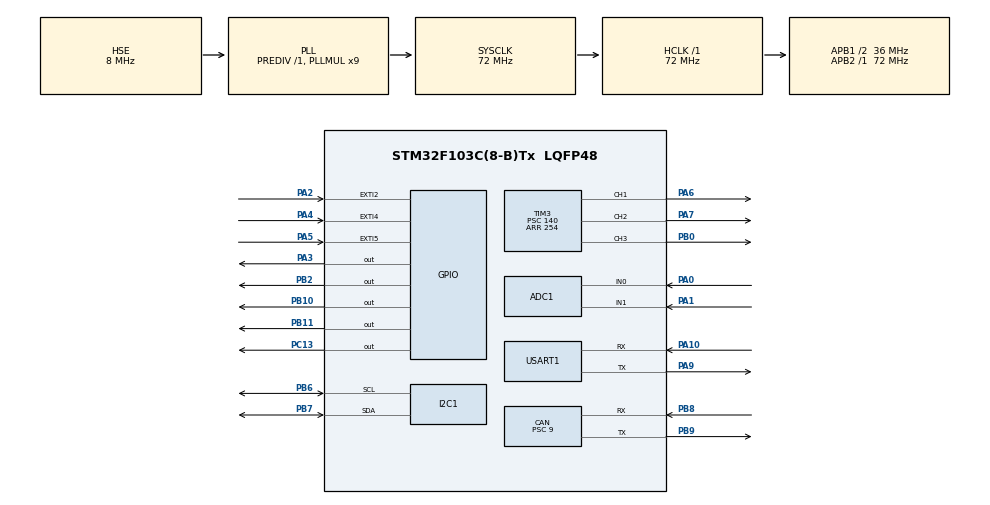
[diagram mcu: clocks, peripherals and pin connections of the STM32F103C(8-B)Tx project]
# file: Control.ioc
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ADC1.Channel-3\#ChannelRegularConversion=ADC_CHANNEL_0
ADC1.Channel-4\#ChannelRegularConversion=ADC_CHANNEL_1
ADC1.ContinuousConvMode=ENABLE
ADC1.DataAlign=ADC_DATAALIGN_RIGHT
ADC1.EnableInjectedConversion=DISABLE
ADC1.EnableRegularConversion=ENABLE
ADC1.ExternalTrigConv=ADC_SOFTWARE_START
ADC1.NbrOfConversion=2
ADC1.NbrOfConversionFlag=1
ADC1.Rank-3\#ChannelRegularConversion=1
ADC1.Rank-4\#ChannelRegularConversion=2
ADC1.SamplingTime-3\#ChannelRegularConversion=ADC_SAMPLETIME_7CYCLES_5
ADC1.SamplingTime-4\#ChannelRegularConversion=ADC_SAMPLETIME_7CYCLES_5
ADC1.master=1
CAN.BS1=CAN_BS1_13TQ
CAN.BS2=CAN_BS2_2TQ
CAN.CalculateTimeBit=4000
CAN.CalculateTimeQuantum=250.0
CAN.NART=ENABLE
CAN.Prescaler=9
CAN.RFLM=DISABLE
CAN.SJW=CAN_SJW_1TQ
CAN.TTCM=DISABLE
Dma.ADC1.0.Direction=DMA_PERIPH_TO_MEMORY
Dma.ADC1.0.Instance=DMA1_Channel1
Dma.ADC1.0.MemDataAlignment=DMA_MDATAALIGN_HALFWORD
Dma.ADC1.0.MemInc=DMA_MINC_ENABLE
Dma.ADC1.0.Mode=DMA_CIRCULAR
Dma.ADC1.0.PeriphDataAlignment=DMA_PDATAALIGN_HALFWORD
Dma.ADC1.0.PeriphInc=DMA_PINC_DISABLE
Dma.ADC1.0.Priority=DMA_PRIORITY_MEDIUM
Dma.Request0=ADC1
Mcu.Family=STM32F1
Mcu.Name=STM32F103C(8-B)Tx
Mcu.Package=LQFP48
NVIC.DMA1_Channel1_IRQn=true\:0\:0\:false\:false\:true\:false\:true
NVIC.EXTI2_IRQn=true\:0\:0\:false\:false\:true\:true\:true
NVIC.EXTI4_IRQn=true\:0\:0\:false\:false\:true\:true\:true
NVIC.EXTI9_5_IRQn=true\:0\:0\:false\:false\:true\:true\:true
NVIC.PriorityGroup=NVIC_PRIORITYGROUP_4
NVIC.TIM2_IRQn=true\:0\:0\:false\:false\:true\:true\:true
NVIC.TIM4_IRQn=true\:0\:0\:false\:false\:true\:true\:true
NVIC.USART1_IRQn=true\:0\:0\:false\:false\:true\:true\:true
NVIC.USB_LP_CAN1_RX0_IRQn=true\:0\:0\:false\:false\:true\:true\:true
PA0-WKUP.Signal=ADCx_IN0
PA1.Signal=ADCx_IN1
PA10.GPIO_PuPd=GPIO_PULLUP
PA10.Mode=Asynchronous
PA10.Signal=USART1_RX
PA13.Mode=Serial_Wire
PA13.Signal=SYS_JTMS-SWDIO
PA14.Mode=Serial_Wire
PA14.Signal=SYS_JTCK-SWCLK
PA2.GPIO_ModeDefaultEXTI=GPIO_MODE_IT_RISING_FALLING
PA2.GPIO_PuPd=GPIO_PULLDOWN
PA2.Signal=GPXTI2
PA3.Signal=GPIO_Output
PA4.GPIO_ModeDefaultEXTI=GPIO_MODE_IT_RISING_FALLING
PA4.GPIO_PuPd=GPIO_PULLDOWN
PA4.Signal=GPXTI4
PA5.GPIO_ModeDefaultEXTI=GPIO_MODE_IT_RISING_FALLING
PA5.GPIO_PuPd=GPIO_PULLDOWN
PA5.Signal=GPXTI5
PA6.GPIO_Speed=GPIO_SPEED_FREQ_HIGH
PA6.Signal=S_TIM3_CH1
PA7.GPIO_Speed=GPIO_SPEED_FREQ_HIGH
PA7.Signal=S_TIM3_CH2
PA9.Mode=Asynchronous
PA9.Signal=USART1_TX
PB0.GPIO_Speed=GPIO_SPEED_FREQ_HIGH
PB0.Signal=S_TIM3_CH3
PB10.PinState=GPIO_PIN_RESET
PB10.Signal=GPIO_Output
PB11.PinState=GPIO_PIN_RESET
PB11.Signal=GPIO_Output
PB2.Signal=GPIO_Output
PB6.Mode=I2C
PB6.Signal=I2C1_SCL
PB7.Mode=I2C
PB7.Signal=I2C1_SDA
PB8.Mode=Master
PB8.Signal=CAN_RX
PB9.Mode=Master
PB9.Signal=CAN_TX
PC13-TAMPER-RTC.GPIO_Speed=GPIO_SPEED_FREQ_LOW
PC13-TAMPER-RTC.PinState=GPIO_PIN_SET
PC13-TAMPER-RTC.Signal=GPIO_Output
PD0-OSC_IN.Mode=HSE-External-Oscillator
PD0-OSC_IN.Signal=RCC_OSC_IN
PD1-OSC_OUT.Mode=HSE-External-Oscillator
PD1-OSC_OUT.Signal=RCC_OSC_OUT
ProjectManager.HeapSize=0x200
ProjectManager.StackSize=0x400
ProjectManager.TargetToolchain=Other Toolchains (GPDSC)
RCC.ADCPresc=RCC_ADCPCLK2_DIV6
RCC.AHBFreq_Value=72000000
RCC.APB1CLKDivider=RCC_HCLK_DIV2
RCC.APB1Freq_Value=36000000
RCC.APB1TimFreq_Value=72000000
RCC.APB2Freq_Value=72000000
RCC.APB2TimFreq_Value=72000000
RCC.HCLKFreq_Value=72000000
RCC.PLLMUL=RCC_PLL_MUL9
RCC.PLLSourceVirtual=RCC_PLLSOURCE_HSE
RCC.SYSCLKFreq_VALUE=72000000
RCC.SYSCLKSource=RCC_SYSCLKSOURCE_PLLCLK
RCC.USBFreq_Value=72000000
SH.ADCx_IN0.0=ADC1_IN0,IN0
SH.ADCx_IN1.0=ADC1_IN1,IN1
SH.S_TIM3_CH1.0=TIM3_CH1,PWM Generation1 CH1
SH.S_TIM3_CH2.0=TIM3_CH2,PWM Generation2 CH2
SH.S_TIM3_CH3.0=TIM3_CH3,PWM Generation3 CH3
TIM2.Channel-Output\ Compare1\ No\ Output=TIM_CHANNEL_1
TIM2.Period=757
TIM2.Prescaler=35293
TIM3.Channel-PWM\ Generation1\ CH1=TIM_CHANNEL_1
TIM3.Channel-PWM\ Generation2\ CH2=TIM_CHANNEL_2
TIM3.Channel-PWM\ Generation3\ CH3=TIM_CHANNEL_3
TIM3.Period=254
TIM3.Prescaler=140
TIM4.Channel-Output\ Compare1\ No\ Output=TIM_CHANNEL_1
TIM4.Period=7
TIM4.Prescaler=35293
USART1.Parity=PARITY_NONE
USART1.VirtualMode=VM_ASYNC
USART1.WordLength=WORDLENGTH_8B
VP_TIM2_VS_OPM.Mode=OPM_bit
VP_TIM2_VS_no_output1.Mode=Output Compare1 No Output
VP_TIM3_VS_ClockSourceINT.Mode=Internal
VP_TIM4_VS_ClockSourceINT.Mode=Internal
VP_TIM4_VS_no_output1.Mode=Output Compare1 No Output
board=custom

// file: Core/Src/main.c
/* USER CODE BEGIN Header */
/**
	******************************************************************************
	* @file           : main.c
	* @brief          : Main program body
	******************************************************************************
	* @attention
	*
	* <h2><center>&copy; Copyright (c) 2020 STMicroelectronics.
	* All rights reserved.</center></h2>
	*
	* This software component is licensed by ST under BSD 3-Clause license,
	* the "License"; You may not use this file except in compliance with the
	* License. You may obtain a copy of the License at:
	*                        opensource.org/licenses/BSD-3-Clause
	*
	******************************************************************************
	*/
/* USER CODE END Header */

#include "main.h"
#include "adc.h"
#include "can.h"
#include "dma.h"
#include "i2c.h"
#include "tim.h"
#include "usart.h"
#include "gpio.h"

/* USER CODE BEGIN Includes */

#include <DataProcessing.h>

/* USER CODE END Includes */

void SystemClock_Config(void);

int main(void)
{
  /* USER CODE BEGIN 1 */
	Master = false;
	PWMStep = 0;
	PWMSpeed = 1;
  /* USER CODE END 1 */

  /* MCU Configuration--------------------------------------------------------*/

  /* Reset of all peripherals, Initializes the Flash interface and the Systick. */
  HAL_Init();

  /* Configure the system clock */
  SystemClock_Config();

  /* Initialize all configured peripherals */
  MX_GPIO_Init();
  MX_DMA_Init();
  MX_TIM3_Init();
  MX_ADC1_Init();
  MX_TIM4_Init();
  MX_I2C1_Init();
  MX_CAN_Init();
  MX_USART1_UART_Init();
  MX_TIM2_Init();
  /* USER CODE BEGIN 2 */

	CAN_Config();

	I2C_launchBH1750();

	HAL_TIM_Base_Start_IT(&htim3);
	HAL_TIM_Base_Start_IT(&htim4);

	HAL_TIM_PWM_Start(&htim3, TIM_CHANNEL_1);
	HAL_TIM_PWM_Start(&htim3, TIM_CHANNEL_2);
	HAL_TIM_PWM_Start(&htim3, TIM_CHANNEL_3);

	HAL_ADCEx_Calibration_Start(&hadc1);
	HAL_ADC_Start(&hadc1);
	HAL_ADC_Start_DMA(&hadc1, (uint32_t*)&ADC_Data, 4);

	HAL_UART_Receive_IT(&huart1, dataReceive, PACKET_SIZE);

  /* USER CODE END 2 */

  /* Infinite loop */
  /* USER CODE BEGIN WHILE */
	while (true)
	{
    /* USER CODE END WHILE */

	}
}

void SystemClock_Config(void)
{
  RCC_OscInitTypeDef RCC_OscInitStruct = {0};
  RCC_ClkInitTypeDef RCC_ClkInitStruct = {0};
  RCC_PeriphCLKInitTypeDef PeriphClkInit = {0};

  /** Initializes the CPU, AHB and APB busses clocks
  */
  RCC_OscInitStruct.OscillatorType = RCC_OSCILLATORTYPE_HSE;
  RCC_OscInitStruct.HSEState = RCC_HSE_ON;
  RCC_OscInitStruct.HSEPredivValue = RCC_HSE_PREDIV_DIV1;
  RCC_OscInitStruct.HSIState = RCC_HSI_ON;
  RCC_OscInitStruct.PLL.PLLState = RCC_PLL_ON;
  RCC_OscInitStruct.PLL.PLLSource = RCC_PLLSOURCE_HSE;
  RCC_OscInitStruct.PLL.PLLMUL = RCC_PLL_MUL9;
  if (HAL_RCC_OscConfig(&RCC_OscInitStruct) != HAL_OK)
  {
    Error_Handler();
  }
  /** Initializes the CPU, AHB and APB busses clocks
  */
  RCC_ClkInitStruct.ClockType = RCC_CLOCKTYPE_HCLK|RCC_CLOCKTYPE_SYSCLK
                              |RCC_CLOCKTYPE_PCLK1|RCC_CLOCKTYPE_PCLK2;
  RCC_ClkInitStruct.SYSCLKSource = RCC_SYSCLKSOURCE_PLLCLK;
  RCC_ClkInitStruct.AHBCLKDivider = RCC_SYSCLK_DIV1;
  RCC_ClkInitStruct.APB1CLKDivider = RCC_HCLK_DIV2;
  RCC_ClkInitStruct.APB2CLKDivider = RCC_HCLK_DIV1;

  if (HAL_RCC_ClockConfig(&RCC_ClkInitStruct, FLASH_LATENCY_2) != HAL_OK)
  {
    Error_Handler();
  }
  PeriphClkInit.PeriphClockSelection = RCC_PERIPHCLK_ADC;
  PeriphClkInit.AdcClockSelection = RCC_ADCPCLK2_DIV6;
  if (HAL_RCCEx_PeriphCLKConfig(&PeriphClkInit) != HAL_OK)
  {
    Error_Handler();
  }
}

void Error_Handler(void)
{
}

/************************ (C) COPYRIGHT STMicroelectronics *****END OF FILE****/
